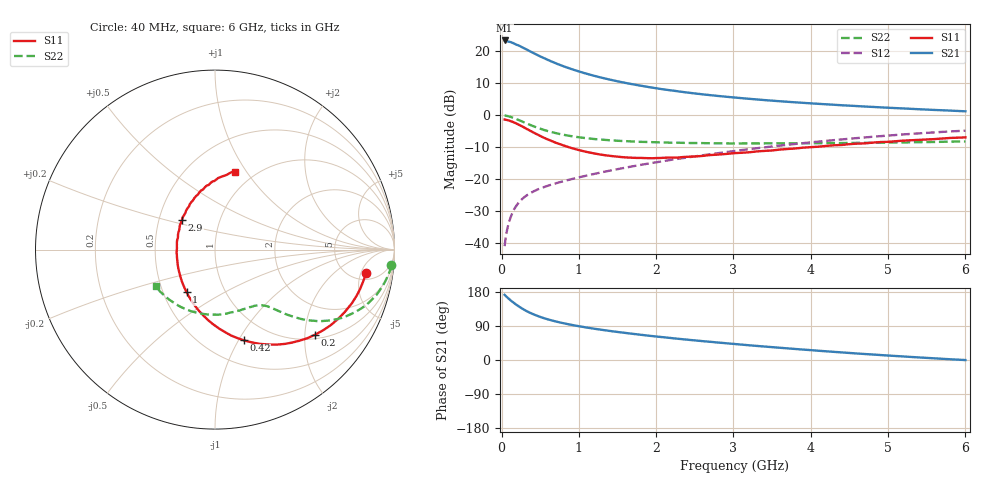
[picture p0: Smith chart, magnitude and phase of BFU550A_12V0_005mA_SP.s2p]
! Filename:  P:\Prog\Test\Noise\ATS_data\Testdata_Net\03 Spar\BFU550A_APG2013_35_C05_12p0V_005mA_SP_CM01_D.s2p
! Date/Time: Tue 16/Apr/2013 15:10:20
! BFU550A_APG2013_35_C05_12p0V_1to35mA_SP_CM01_Bias4_R.s2p
! MDIF S-parameter v. bias file
! BFU550A_APG2013_35_C05_12p0V_1to35mA_SP_CM01
! Date/time Mon Apr 15 17:55:46 2013
! VAR V_out= 12.0000
! VAR I_out= 5.0000
! VAR V_in= 0.8021
! VAR I_in= 0.0425
! Device data file deembeded for feedlines and parallel
! Original file: \03 Spar\BFU550A_APG2013_35_C05_12p0V_005mA_SP_CM01_R.s2p
! Feed-files: PR017V01_150413_Feed1.s2p, PR017V01_150413_Feed2.s2p
! Parallel-file: PR017V01_150413_Par.s2p
# MHz S MA R 50
!  Freq-MHz  S11-mag  S11-arg  S21-mag  S21-arg  S12-mag  S12-arg  S22-mag  S22-arg
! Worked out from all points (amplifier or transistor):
!   98 points, 40 MHz to 6 GHz, reference 50 ohm
!   highest |S21| = 23.3 dB at 40 MHz (marker M1)
!   |S21| within 3 dB of that: start of sweep to 338.8 MHz
!   unconditionally stable (mu >= 1): 1.688 GHz to 2.59 GHz
!   at 300 MHz: K = 0.40, MSG = 23.1 dB, |S12| = -25.5 dB
!   at 1.6 GHz: K = 0.99, MSG = 13.2 dB, |S12| = -16.4 dB
!   at 6 GHz: K = 0.88, MSG = 3.0 dB, |S12| = -4.9 dB
!   S11 on the Smith chart (normalised r, x): 40 MHz: 6.60, -6.23; 200 MHz: 1.10, -2.25; 420 MHz: 0.75, -1.05; 1 GHz: 0.66, -0.34; 2.9 GHz: 0.66, +0.23; 6 GHz: 0.82, +0.89
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40  0.8525 -8.7  14.59 171.9  0.00902 83.2  0.9852 -5.1
60  0.8426 -13.0  14.33 167.7  0.01358 81.3  0.9767 -8.1
120  0.803 -25.5  13.75 157.0  0.02593 75.6  0.9357 -15.5
160  0.7699 -33.2  13.1 150.7  0.03333 72.0  0.9001 -19.8
200  0.7318 -40.4  12.44 144.7  0.03982 69.0  0.8587 -23.7
240  0.6908 -47.4  11.88 139.1  0.04559 66.6  0.8203 -26.9
300  0.6336 -56.6  10.91 131.8  0.05305 63.6  0.7625 -30.9
360  0.5793 -65.0  10.02 125.5  0.05948 61.4  0.7112 -34.1
420  0.53 -72.4  9.194 120.0  0.06506 60.0  0.6654 -36.5
480  0.4877 -79.2  8.454 115.3  0.07007 59.0  0.6259 -38.4
550  0.4422 -86.7  7.726 110.2  0.0753 58.3  0.5854 -40.1
650  0.3931 -95.9  6.824 104.4  0.08264 57.9  0.5426 -42.0
800  0.3367 -108.5  5.787 97.1  0.09298 58.1  0.4943 -43.9
1000  0.2848 -123.8  4.799 89.2  0.1067 59.0  0.451 -46.0
1050  0.2753 -127.5  4.598 87.4  0.1102 59.2  0.4427 -46.4
1500  0.2247 -157.7  3.366 74.0  0.1433 60.7  0.3976 -51.2
2050  0.214 172.3  2.565 61.0  0.1875 60.9  0.3746 -58.7
2900  0.2473 138.2  1.936 44.3  0.2642 58.2  0.3623 -74.1
3100  0.2579 131.9  1.84 40.7  0.2839 57.0  0.3615 -77.9
4100  0.3213 107.2  1.498 24.4  0.3857 49.6  0.3644 -100.4
5200  0.3997 87.3  1.268 9.3  0.4997 38.5  0.3745 -127.3
6000  0.4487 75.4  1.145 -0.2  0.5716 29.2  0.3869 -148.6
